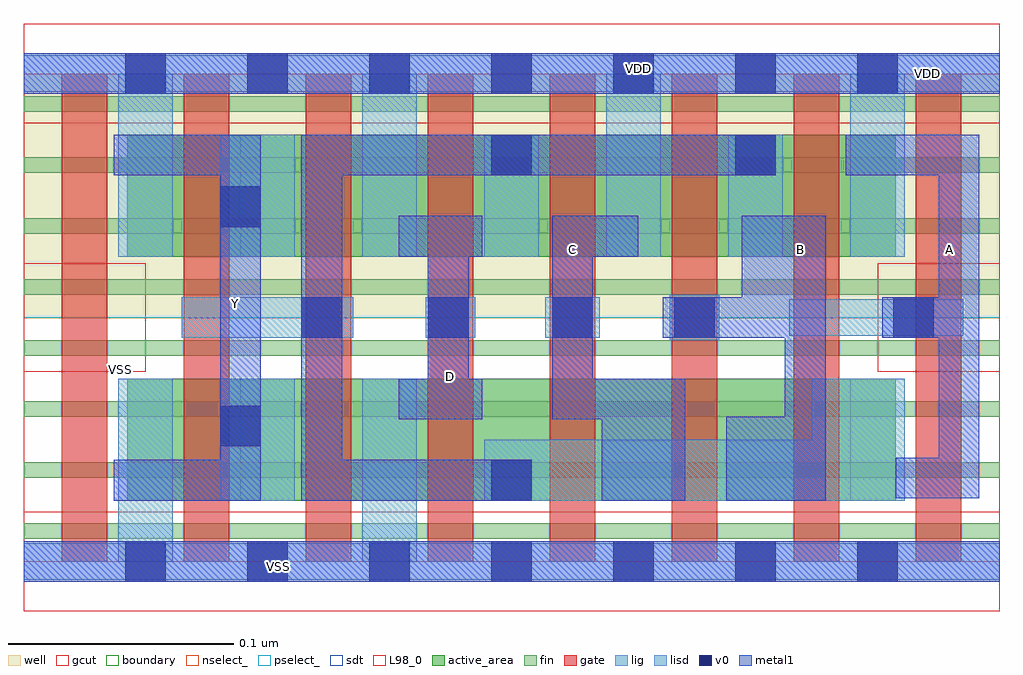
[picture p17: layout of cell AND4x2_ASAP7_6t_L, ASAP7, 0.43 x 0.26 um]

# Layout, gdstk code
import gdstk
lib = gdstk.Library(unit=1e-6, precision=2.5e-10)
def R(c, l, rs):  # rectangles x0, y0, x1, y1
    for r in rs: c.add(gdstk.rectangle(r[:2], r[2:], *l))
def A(c, l, x, y, w, h, nx, ny, dx, dy):  # array of equal rectangles
    R(c, l, [(x+i*dx, y+j*dy, x+i*dx+w, y+j*dy+h) for i in range(nx) for j in range(ny)])
def P(c, l, *ps):  # polygons
    for p in ps: c.add(gdstk.Polygon(p, *l))
well = (1, 0)
fin = (2, 0)
gate = (7, 0)
gcut = (10, 0)
active_area = (11, 0)
nselect_ = (12, 0)
pselect_ = (13, 0)
lig = (16, 0)
lisd = (17, 0)
v0 = (18, 0)
metal1 = (19, 0)
sdt = (88, 0)
L98_0 = (98, 0)
boundary = (100, 0)

and4x2_asap7_6t_l = lib.new_cell('AND4x2_ASAP7_6t_L')
R(and4x2_asap7_6t_l, well, [(0,0.108,0.432,0.216)])
A(and4x2_asap7_6t_l, fin, 0, 0.01, 0.432, 0.007, 1, 8, 0, 0.027)
A(and4x2_asap7_6t_l, gate, 0.017, 0, 0.02, 0.216, 8, 1, 0.054, 0)
R(and4x2_asap7_6t_l, gcut, [(0,-0.022,0.432,0.022), (0,0.084,0.054,0.132), (0.378,0.084,0.432,0.132), (0,0.194,0.432,0.238)])
R(and4x2_asap7_6t_l, active_area, [(0.046,0.027,0.386,0.081), (0.046,0.135,0.386,0.189)])
R(and4x2_asap7_6t_l, nselect_, [(0,0,0.432,0.108)])
R(and4x2_asap7_6t_l, pselect_, [(0,0.108,0.432,0.216)])
R(and4x2_asap7_6t_l, lig, [(0,-0.008,0.432,0.008), (0.286,0.098,0.308,0.118), (0.07,0.099,0.146,0.117), (0.178,0.099,0.2,0.117), (0.231,0.099,0.255,0.117), (0.339,0.1,0.416,0.116), (0,0.208,0.432,0.224)])
A(and4x2_asap7_6t_l, lisd, 0.042, 0.135, 0.024, 0.081, 4, 1, 0.108, 0)
R(and4x2_asap7_6t_l, lisd, [(0.042,0,0.066,0.081), (0.15,0,0.174,0.081), (0.087,0.027,0.12,0.081), (0.087,0.135,0.12,0.189), (0.204,0.135,0.228,0.189), (0.312,0.135,0.336,0.189)])
P(and4x2_asap7_6t_l, lisd, [(0.204,0.054),(0.349,0.054),(0.349,0.081),(0.39,0.081),(0.39,0.027),(0.204,0.027)])
A(and4x2_asap7_6t_l, v0, 0.045, -0.009, 0.018, 0.018, 7, 2, 0.054, 0.216)
R(and4x2_asap7_6t_l, v0, [(0.207,0.027,0.225,0.045), (0.087,0.051,0.105,0.069), (0.123,0.099,0.141,0.117), (0.179,0.099,0.197,0.117), (0.234,0.099,0.252,0.117), (0.288,0.099,0.306,0.117), (0.385,0.099,0.403,0.117), (0.087,0.148,0.105,0.166), (0.207,0.171,0.225,0.189), (0.315,0.171,0.333,0.189)])
R(and4x2_asap7_6t_l, metal1, [(0,-0.009,0.432,0.009), (0,0.207,0.432,0.225)])
P(and4x2_asap7_6t_l, metal1, [(0.04,0.045),(0.087,0.045),(0.087,0.171),(0.04,0.171),(0.04,0.189),(0.105,0.189),(0.105,0.027),(0.04,0.027)],
  [(0.355,0.027),(0.311,0.027),(0.311,0.064),(0.337,0.064),(0.337,0.099),(0.283,0.099),(0.283,0.117),(0.318,0.117),(0.318,0.153),(0.355,0.153)],
  [(0.123,0.189),(0.333,0.189),(0.333,0.171),(0.141,0.171),(0.141,0.045),(0.225,0.045),(0.225,0.027),(0.123,0.027)],
  [(0.364,0.189),(0.423,0.189),(0.423,0.028),(0.386,0.028),(0.386,0.046),(0.405,0.046),(0.405,0.099),(0.38,0.099),(0.38,0.117),(0.405,0.117),(0.405,0.171),(0.364,0.171)],
  [(0.166,0.081),(0.179,0.081),(0.179,0.135),(0.166,0.135),(0.166,0.153),(0.203,0.153),(0.203,0.135),(0.197,0.135),(0.197,0.081),(0.203,0.081),(0.203,0.063),(0.166,0.063)],
  [(0.123,0.189),(0.333,0.189),(0.333,0.171),(0.141,0.171),(0.141,0.045),(0.225,0.045),(0.225,0.027),(0.123,0.027)],
  [(0.234,0.153),(0.272,0.153),(0.272,0.135),(0.252,0.135),(0.252,0.081),(0.293,0.081),(0.293,0.027),(0.256,0.027),(0.256,0.063),(0.234,0.063)])
A(and4x2_asap7_6t_l, sdt, 0.042, 0.027, 0.024, 0.054, 3, 1, 0.054, 0)
A(and4x2_asap7_6t_l, sdt, 0.042, 0.135, 0.024, 0.054, 7, 1, 0.054, 0)
R(and4x2_asap7_6t_l, sdt, [(0.366,0.027,0.39,0.081)])
R(and4x2_asap7_6t_l, L98_0, [(0,0,0.432,0.216)])
R(and4x2_asap7_6t_l, boundary, [(0,0,0.432,0.216)])
and4x2_asap7_6t_l.add(gdstk.Label('VDD', (0.272,0.218), layer=19, texttype=251))
and4x2_asap7_6t_l.add(gdstk.Label('VSS', (0.113,-0.002), layer=19, texttype=251))
and4x2_asap7_6t_l.add(gdstk.Label('B', (0.344,0.138), layer=19, texttype=251))
and4x2_asap7_6t_l.add(gdstk.Label('C', (0.243,0.138), layer=19, texttype=251))
and4x2_asap7_6t_l.add(gdstk.Label('A', (0.41,0.138), layer=19, texttype=251))
and4x2_asap7_6t_l.add(gdstk.Label('Y', (0.094,0.114), layer=19, texttype=251))
and4x2_asap7_6t_l.add(gdstk.Label('D', (0.189,0.082), layer=19, texttype=251))
and4x2_asap7_6t_l.add(gdstk.Label('VSS', (0.043,0.085), layer=3, texttype=251))
and4x2_asap7_6t_l.add(gdstk.Label('VDD', (0.4,0.216), layer=1, texttype=251))

lib.write_gds('AND4x2_ASAP7_6t_L.gds')
